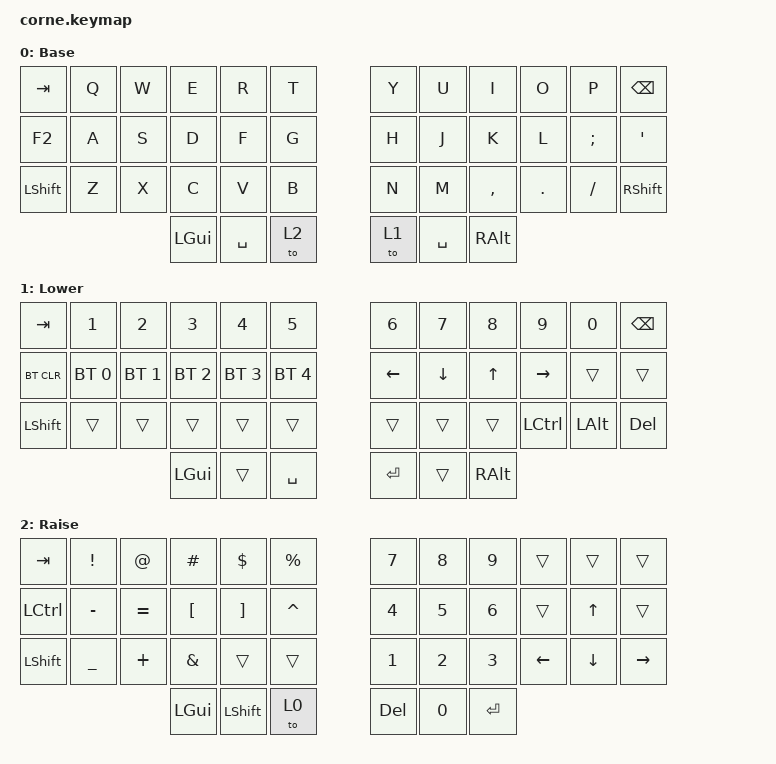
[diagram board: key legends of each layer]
/*
 * Copyright (c) 2020 The ZMK Contributors
 *
 * SPDX-License-Identifier: MIT
 */

#include <behaviors.dtsi>
#include <dt-bindings/zmk/bt.h>
#include <dt-bindings/zmk/keys.h>

/ {
    keymap {
        compatible = "zmk,keymap";

        default_layer {
            // -----------------------------------------------------------------------------------------
            // |  TAB |  Q  |  W  |  E  |  R  |  T  |   |  Y  |  U   |  I  |  O  |  P  | BKSP |
            // | CTRL |  A  |  S  |  D  |  F  |  G  |   |  H  |  J   |  K  |  L  |  ;  |  '   |
            // | SHFT |  Z  |  X  |  C  |  V  |  B  |   |  N  |  M   |  ,  |  .  |  /  | ESC  |
            //                    | GUI | LWR | SPC |   | ENT | RSE  | ALT |

            label = "Base";
            bindings = <
&kp TAB    &kp Q  &kp W  &kp E     &kp R      &kp T    &kp Y  &kp U      &kp I      &kp O    &kp P     &kp BSPC
&kp F2     &kp A  &kp S  &kp D     &kp F      &kp G    &kp H  &kp J      &kp K      &kp L    &kp SEMI  &kp SQT
&kp LSHFT  &kp Z  &kp X  &kp C     &kp V      &kp B    &kp N  &kp M      &kp COMMA  &kp DOT  &kp FSLH  &kp RIGHT_SHIFT
                         &kp LGUI  &kp SPACE  &to 2    &to 1  &kp SPACE  &kp RALT
            >;
        };

        lower_layer {
            // -----------------------------------------------------------------------------------------
            // |  TAB |  1  |  2  |  3  |  4  |  5  |   |  6  |  7  |  8  |  9  |  0  | BKSP |
            // | BTCLR| BT1 | BT2 | BT3 | BT4 | BT5 |   | LFT | DWN |  UP | RGT |     |      |
            // | SHFT |     |     |     |     |     |   |     |     |     |     |     |      |
            //                    | GUI |     | SPC |   | ENT |     | ALT |

            label = "Lower";
            bindings = <
&kp TAB     &kp N1        &kp N2        &kp N3        &kp N4        &kp N5          &kp N6    &kp N7    &kp N8    &kp N9     &kp N0        &kp BSPC
&bt BT_CLR  &bt BT_SEL 0  &bt BT_SEL 1  &bt BT_SEL 2  &bt BT_SEL 3  &bt BT_SEL 4    &kp LEFT  &kp DOWN  &kp UP    &kp RIGHT  &trans        &trans
&kp LSHFT   &trans        &trans        &trans        &trans        &trans          &trans    &trans    &trans    &kp LCTRL  &kp LEFT_ALT  &kp DELETE
                                        &kp LGUI      &trans        &kp SPACE       &kp RET   &trans    &kp RALT
            >;
        };

        raise_layer {
            // -----------------------------------------------------------------------------------------
            // |  TAB |  !  |  @  |  #  |  $  |  %  |   |  ^  |  &  |  *  |  (  |  )  | BKSP |
            // | CTRL |     |     |     |     |     |   |  -  |  =  |  [  |  ]  |  \  |  `   |
            // | SHFT |     |     |     |     |     |   |  _  |  +  |  {  |  }  | "|" |  ~   |
            //                    | GUI |     | SPC |   | ENT |     | ALT |

            label = "Raise";
            bindings = <
&kp TAB    &kp EXCL   &kp AT     &kp HASH          &kp DLLR           &kp PRCNT    &kp N7        &kp N8        &kp NUMBER_9  &trans    &trans        &trans
&kp LCTRL  &kp MINUS  &kp EQUAL  &kp LEFT_BRACKET  &kp RIGHT_BRACKET  &kp CARET    &kp NUMBER_4  &kp N5        &kp NUMBER_6  &trans    &kp UP_ARROW  &trans
&kp LSHFT  &kp UNDER  &kp PLUS   &kp AMPS          &trans             &trans       &kp NUMBER_1  &kp NUMBER_2  &kp NUMBER_3  &kp LEFT  &kp DOWN      &kp RIGHT
                                 &kp LGUI          &kp LEFT_SHIFT     &to 0        &kp DELETE    &kp N0        &kp ENTER
            >;
        };
    };
};
